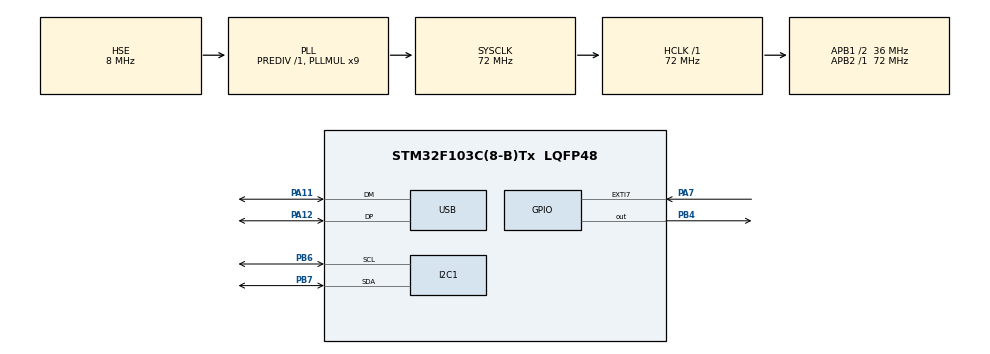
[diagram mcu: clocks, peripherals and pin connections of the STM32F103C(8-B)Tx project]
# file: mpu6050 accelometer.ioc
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Mcu.Family=STM32F1
Mcu.Name=STM32F103C(8-B)Tx
Mcu.Package=LQFP48
NVIC.EXTI9_5_IRQn=true\:0\:0\:false\:false\:true\:true\:true
NVIC.PriorityGroup=NVIC_PRIORITYGROUP_4
NVIC.USB_LP_CAN1_RX0_IRQn=true\:0\:0\:false\:false\:true\:false\:true
PA11.Mode=Device
PA11.Signal=USB_DM
PA12.Mode=Device
PA12.Signal=USB_DP
PA13.Mode=Serial_Wire
PA13.Signal=SYS_JTMS-SWDIO
PA14.Mode=Serial_Wire
PA14.Signal=SYS_JTCK-SWCLK
PA7.GPIO_ModeDefaultEXTI=GPIO_MODE_IT_FALLING
PA7.GPIO_PuPd=GPIO_PULLDOWN
PA7.Signal=GPXTI7
PB4.PinState=GPIO_PIN_SET
PB4.Signal=GPIO_Output
PB6.Mode=I2C
PB6.Signal=I2C1_SCL
PB7.Mode=I2C
PB7.Signal=I2C1_SDA
PD0-OSC_IN.Mode=HSE-External-Oscillator
PD0-OSC_IN.Signal=RCC_OSC_IN
PD1-OSC_OUT.Mode=HSE-External-Oscillator
PD1-OSC_OUT.Signal=RCC_OSC_OUT
ProjectManager.HeapSize=0x200
ProjectManager.StackSize=0x400
ProjectManager.TargetToolchain=STM32CubeIDE
RCC.AHBFreq_Value=72000000
RCC.APB1CLKDivider=RCC_HCLK_DIV2
RCC.APB1Freq_Value=36000000
RCC.APB1TimFreq_Value=72000000
RCC.APB2Freq_Value=72000000
RCC.APB2TimFreq_Value=72000000
RCC.HCLKFreq_Value=72000000
RCC.PLLMUL=RCC_PLL_MUL9
RCC.SYSCLKFreq_VALUE=72000000
RCC.SYSCLKSource=RCC_SYSCLKSOURCE_PLLCLK
RCC.USBFreq_Value=48000000
RCC.USBPrescaler=RCC_USBCLKSOURCE_PLL_DIV1_5
USB_DEVICE.CLASS_NAME_FS=HID
USB_DEVICE.VirtualMode=Hid
USB_DEVICE.VirtualModeFS=Hid_FS
VP_USB_DEVICE_VS_USB_DEVICE_HID_FS.Mode=HID_FS
board=custom

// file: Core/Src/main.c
/* USER CODE BEGIN Header */
/**
  ******************************************************************************
  * @file           : main.c
  * @brief          : Main program body
  ******************************************************************************
  * @attention
  *
  * <h2><center>&copy; Copyright (c) 2021 STMicroelectronics.
  * All rights reserved.</center></h2>
  *
  * This software component is licensed by ST under BSD 3-Clause license,
  * the "License"; You may not use this file except in compliance with the
  * License. You may obtain a copy of the License at:
  *                        opensource.org/licenses/BSD-3-Clause
  *
  ******************************************************************************
  */
/* USER CODE END Header */
#include "main.h"
#include "usb_device.h"

/* USER CODE BEGIN Includes */
#include "usbd_hid.h"
/* USER CODE END Includes */

I2C_HandleTypeDef hi2c1;

void SystemClock_Config(void);
static void MX_GPIO_Init(void);
static void MX_I2C1_Init(void);

/* USER CODE BEGIN 0 */

uint8_t button_flag=0;

/********************* USB MOUSE RELATED ************************/
extern USBD_HandleTypeDef hUsbDeviceFS;

typedef struct
{
	uint8_t button;
	int8_t mouse_x;
	int8_t mouse_y;
	int8_t wheel;
} mouseHID;

mouseHID mousehid = {0,0,0,0};

/*****************************************************************/

#define MPU6050_ADDR 0xD0

#define SMPLRT_DIV_REG 0x19
#define GYRO_CONFIG_REG 0x1B
#define ACCEL_CONFIG_REG 0x1C
#define ACCEL_XOUT_H_REG 0x3B
#define TEMP_OUT_H_REG 0x41
#define GYRO_XOUT_H_REG 0x43
#define PWR_MGMT_1_REG 0x6B
#define WHO_AM_I_REG 0x75

int buttonstate = 0;
int oldbuttonstate = 0;

int16_t Accel_X_RAW = 0;
int16_t Accel_Y_RAW = 0;
int16_t Accel_Z_RAW = 0;

int16_t Gyro_X_RAW = 0;
int16_t Gyro_Y_RAW = 0;
int16_t Gyro_Z_RAW = 0;

float Ax, Ay, Az, Gx, Gy, Gz;

void MPU6050_Init (void)
{
	uint8_t check;
	uint8_t Data;

	// check device ID WHO_AM_I

	HAL_I2C_Mem_Read (&hi2c1, MPU6050_ADDR,WHO_AM_I_REG,1, &check, 1, 1000);

	if (check == 104)  // 0x68 will be returned by the sensor if everything goes well
	{
		// power management register 0X6B we should write all 0's to wake the sensor up
		Data = 0;
		HAL_I2C_Mem_Write(&hi2c1, MPU6050_ADDR, PWR_MGMT_1_REG, 1,&Data, 1, 1000);

		// Set DATA RATE of 1KHz by writing SMPLRT_DIV register
		Data = 0x07;
		HAL_I2C_Mem_Write(&hi2c1, MPU6050_ADDR, SMPLRT_DIV_REG, 1, &Data, 1, 1000);

		// Set accelerometer configuration in ACCEL_CONFIG Register
		// XA_ST=0,YA_ST=0,ZA_ST=0, FS_SEL=0 -> � 2g
		Data = 0x00;
		HAL_I2C_Mem_Write(&hi2c1, MPU6050_ADDR, ACCEL_CONFIG_REG, 1, &Data, 1, 1000);

		// Set Gyroscopic configuration in GYRO_CONFIG Register
		// XG_ST=0,YG_ST=0,ZG_ST=0, FS_SEL=0 -> � 250 �/s
		Data = 0x00;
		HAL_I2C_Mem_Write(&hi2c1, MPU6050_ADDR, GYRO_CONFIG_REG, 1, &Data, 1, 1000);
	}

}

void MPU6050_Read_Accel (void)
{
	uint8_t Rec_Data[6];

	// Read 6 BYTES of data starting from ACCEL_XOUT_H register

	HAL_I2C_Mem_Read (&hi2c1, MPU6050_ADDR, ACCEL_XOUT_H_REG, 1, Rec_Data, 6, 1000);

	Accel_X_RAW = (int16_t)(Rec_Data[0] << 8 | Rec_Data [1]);
	Accel_Y_RAW = (int16_t)(Rec_Data[2] << 8 | Rec_Data [3]);
	Accel_Z_RAW = (int16_t)(Rec_Data[4] << 8 | Rec_Data [5]);

	/*** convert the RAW values into acceleration in 'g'
	     we have to divide according to the Full scale value set in FS_SEL
	     I have configured FS_SEL = 0. So I am dividing by 16384.0
	     for more details check ACCEL_CONFIG Register              ****/

	Ax = Accel_X_RAW*9.8/16384.0;
	Ay = Accel_Y_RAW*9.8/16384.0;
	Az = Accel_Z_RAW*9.8/16384.0;
}

void MPU6050_Read_Gyro (void)
{
	uint8_t Rec_Data[6];

	// Read 6 BYTES of data starting from GYRO_XOUT_H register

	HAL_I2C_Mem_Read (&hi2c1, MPU6050_ADDR, GYRO_XOUT_H_REG, 1, Rec_Data, 6, 1000);

	Gyro_X_RAW = (int16_t)(Rec_Data[0] << 8 | Rec_Data [1]);
	Gyro_Y_RAW = (int16_t)(Rec_Data[2] << 8 | Rec_Data [3]);
	Gyro_Z_RAW = (int16_t)(Rec_Data[4] << 8 | Rec_Data [5]);

	/*** convert the RAW values into dps (�/s)
	     we have to divide according to the Full scale value set in FS_SEL
	     I have configured FS_SEL = 0. So I am dividing by 131.0
	     for more details check GYRO_CONFIG Register              ****/

	Gx = Gyro_X_RAW/310.0;
	Gy = Gyro_Y_RAW/310.0;
	Gz = Gyro_Z_RAW/310.0;
}

/********************* EXTI RELATED ************************/
void HAL_GPIO_EXTI_Callback(uint16_t GPIO_Pin)
{
	if (GPIO_Pin == GPIO_PIN_7)
	{
		button_flag = 1;
	}
}

/* USER CODE END 0 */

int main(void)
{

  /* MCU Configuration--------------------------------------------------------*/

  /* Reset of all peripherals, Initializes the Flash interface and the Systick. */
  HAL_Init();

  /* Configure the system clock */
  SystemClock_Config();

  /* Initialize all configured peripherals */
  MX_GPIO_Init();
  MX_I2C1_Init();
  MX_USB_DEVICE_Init();
  /* USER CODE BEGIN 2 */

  MPU6050_Init();

  /* USER CODE END 2 */

  /* Infinite loop */
  while (1)
  {

    /* USER CODE BEGIN 3 */
	MPU6050_Read_Accel();
	MPU6050_Read_Gyro();

	mousehid.mouse_y = -Gy;

	mousehid.mouse_x = -Gz;

	buttonstate = HAL_GPIO_ReadPin(GPIOA, GPIO_PIN_5);

	if (buttonstate != oldbuttonstate )
	{
	  mousehid.button = buttonstate;  // left click =1, right click =2
	  USBD_HID_SendReport(&hUsbDeviceFS, &mousehid, sizeof (mousehid));
	  oldbuttonstate = buttonstate;
	}
	else{
		USBD_HID_SendReport(&hUsbDeviceFS, &mousehid, sizeof (mousehid));
	}

	HAL_Delay (15);  // wait for a while
  }
  /* USER CODE END 3 */
}

void SystemClock_Config(void)
{
  RCC_OscInitTypeDef RCC_OscInitStruct = {0};
  RCC_ClkInitTypeDef RCC_ClkInitStruct = {0};
  RCC_PeriphCLKInitTypeDef PeriphClkInit = {0};

  /** Initializes the RCC Oscillators according to the specified parameters
  * in the RCC_OscInitTypeDef structure.
  */
  RCC_OscInitStruct.OscillatorType = RCC_OSCILLATORTYPE_HSE;
  RCC_OscInitStruct.HSEState = RCC_HSE_ON;
  RCC_OscInitStruct.HSEPredivValue = RCC_HSE_PREDIV_DIV1;
  RCC_OscInitStruct.HSIState = RCC_HSI_ON;
  RCC_OscInitStruct.PLL.PLLState = RCC_PLL_ON;
  RCC_OscInitStruct.PLL.PLLSource = RCC_PLLSOURCE_HSE;
  RCC_OscInitStruct.PLL.PLLMUL = RCC_PLL_MUL9;
  if (HAL_RCC_OscConfig(&RCC_OscInitStruct) != HAL_OK)
  {
    Error_Handler();
  }
  /** Initializes the CPU, AHB and APB buses clocks
  */
  RCC_ClkInitStruct.ClockType = RCC_CLOCKTYPE_HCLK|RCC_CLOCKTYPE_SYSCLK
                              |RCC_CLOCKTYPE_PCLK1|RCC_CLOCKTYPE_PCLK2;
  RCC_ClkInitStruct.SYSCLKSource = RCC_SYSCLKSOURCE_PLLCLK;
  RCC_ClkInitStruct.AHBCLKDivider = RCC_SYSCLK_DIV1;
  RCC_ClkInitStruct.APB1CLKDivider = RCC_HCLK_DIV2;
  RCC_ClkInitStruct.APB2CLKDivider = RCC_HCLK_DIV1;

  if (HAL_RCC_ClockConfig(&RCC_ClkInitStruct, FLASH_LATENCY_2) != HAL_OK)
  {
    Error_Handler();
  }
  PeriphClkInit.PeriphClockSelection = RCC_PERIPHCLK_USB;
  PeriphClkInit.UsbClockSelection = RCC_USBCLKSOURCE_PLL_DIV1_5;
  if (HAL_RCCEx_PeriphCLKConfig(&PeriphClkInit) != HAL_OK)
  {
    Error_Handler();
  }
}

static void MX_I2C1_Init(void)
{

  hi2c1.Instance = I2C1;
  hi2c1.Init.ClockSpeed = 100000;
  hi2c1.Init.DutyCycle = I2C_DUTYCYCLE_2;
  hi2c1.Init.OwnAddress1 = 0;
  hi2c1.Init.AddressingMode = I2C_ADDRESSINGMODE_7BIT;
  hi2c1.Init.DualAddressMode = I2C_DUALADDRESS_DISABLE;
  hi2c1.Init.OwnAddress2 = 0;
  hi2c1.Init.GeneralCallMode = I2C_GENERALCALL_DISABLE;
  hi2c1.Init.NoStretchMode = I2C_NOSTRETCH_DISABLE;
  if (HAL_I2C_Init(&hi2c1) != HAL_OK)
  {
    Error_Handler();
  }

}

static void MX_GPIO_Init(void)
{
  GPIO_InitTypeDef GPIO_InitStruct = {0};

  /* GPIO Ports Clock Enable */
  __HAL_RCC_GPIOD_CLK_ENABLE();
  __HAL_RCC_GPIOA_CLK_ENABLE();
  __HAL_RCC_GPIOB_CLK_ENABLE();

  /*Configure GPIO pin Output Level */
  HAL_GPIO_WritePin(GPIOB, GPIO_PIN_4, GPIO_PIN_SET);

  /*Configure GPIO pin : PA7 */
  GPIO_InitStruct.Pin = GPIO_PIN_7;
  GPIO_InitStruct.Mode = GPIO_MODE_IT_FALLING;
  GPIO_InitStruct.Pull = GPIO_PULLDOWN;
  HAL_GPIO_Init(GPIOA, &GPIO_InitStruct);

  /*Configure GPIO pin : PB4 */
  GPIO_InitStruct.Pin = GPIO_PIN_4;
  GPIO_InitStruct.Mode = GPIO_MODE_OUTPUT_PP;
  GPIO_InitStruct.Pull = GPIO_NOPULL;
  GPIO_InitStruct.Speed = GPIO_SPEED_FREQ_LOW;
  HAL_GPIO_Init(GPIOB, &GPIO_InitStruct);

  /* EXTI interrupt init*/
  HAL_NVIC_SetPriority(EXTI9_5_IRQn, 0, 0);
  HAL_NVIC_EnableIRQ(EXTI9_5_IRQn);

}

void Error_Handler(void)
{
  __disable_irq();
  while (1)
  {
  }
}

/************************ (C) COPYRIGHT STMicroelectronics *****END OF FILE****/
